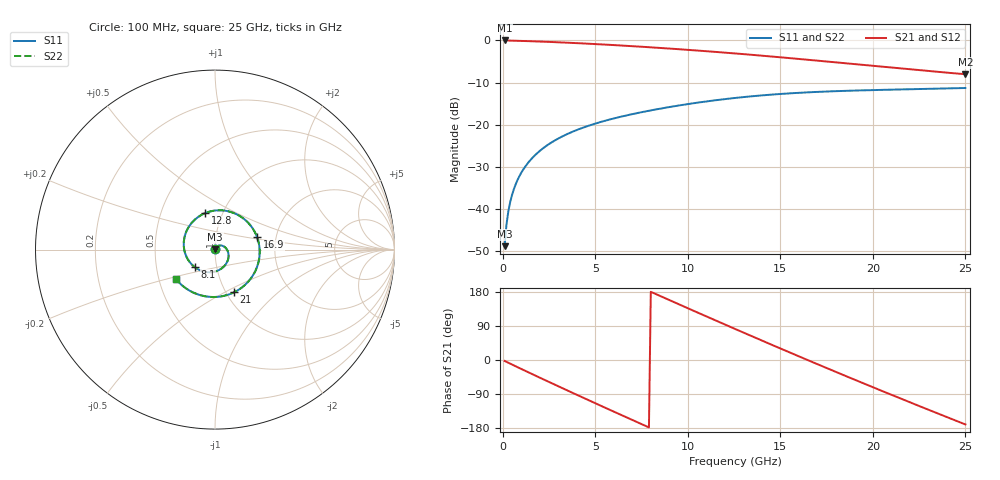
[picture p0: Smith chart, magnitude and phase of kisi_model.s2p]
! kisi D_s8_stitch_2p0: fast channel model (formula impedances, via model), up to 25 GHz
# Hz S RI R 50
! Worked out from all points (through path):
!   250 points, 100 MHz to 25 GHz, reference 50 ohm
!   highest |S21| = -0.02 dB at 100 MHz (marker M1); lowest = -8.0 dB at 25 GHz (marker M2)
!   group delay of S21, straight-line fit = 58.8 ps
!   lowest |S11| = -48.8 dB at 100 MHz (marker M3), VSWR 1.01, Z = 50.2 + j0.323 ohm
!   |S11| at or under -10 dB: start of sweep to end of sweep
!   |S22| runs from -48.8 to -11.3 dB; largest |S21 - S12| = 0
!   S11 on the Smith chart (normalised r, x): 100 MHz: 1.00, +0.01; 8.1 GHz: 0.78, -0.16; 12.8 GHz: 0.83, +0.35; 16.9 GHz: 1.59, +0.23; 21 GHz: 1.09, -0.56; 25 GHz: 0.61, -0.22
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1e8  0.00169 0.00322  0.9968 -0.0428  0.9968 -0.0428  0.00169 0.00322
2e8  0.00258 0.00603  0.9929 -0.0845  0.9929 -0.0845  0.00258 0.00603
4e8  0.00507 0.011  0.98 -0.166  0.98 -0.166  0.00507 0.011
1.1e9  0.0196 0.0218  0.8847 -0.4304  0.8847 -0.4304  0.0196 0.0218
2.7e9  0.0627 0.00583  0.4408 -0.8476  0.4408 -0.8476  0.0627 0.00583
4.3e9  0.0724 -0.0563  -0.1363 -0.9108  -0.1363 -0.9108  0.0724 -0.0563
5.2e9  0.0497 -0.0941  -0.4299 -0.7902  -0.4299 -0.7902  0.0497 -0.0941
6.3e9  -0.00378 -0.1232  -0.6952 -0.5265  -0.6952 -0.5265  -0.00378 -0.1232
8.1e9  -0.1135 -0.0972  -0.824 0.0327  -0.824 0.0327  -0.1135 -0.0972
8.4e9  -0.1292 -0.0831  -0.8069 0.1249  -0.8069 0.1249  -0.1292 -0.0831
1.06e10  -0.1694 0.0711  -0.419 0.6288  -0.419 0.6288  -0.1694 0.0711
1.16e10  -0.1343 0.1434  -0.1545 0.7108  -0.1545 0.7108  -0.1343 0.1434
1.26e10  -0.0704 0.1961  0.1096 0.6903  0.1096 0.6903  -0.0704 0.1961
1.28e10  -0.055 0.2032  0.1591 0.6747  0.1591 0.6747  -0.055 0.2032
1.48e10  0.1128 0.2004  0.5235 0.3615  0.5235 0.3615  0.1128 0.2004
1.67e10  0.2283 0.0846  0.5813 -0.0488  0.5813 -0.0488  0.2283 0.0846
1.69e10  0.2349 0.0682  0.5709 -0.0895  0.5709 -0.0895  0.2349 0.0682
1.9e10  0.2275 -0.1134  0.3241 -0.4104  0.3241 -0.4104  0.2275 -0.1134
2.09e10  0.1137 -0.2341  0.002 -0.4777  0.002 -0.4777  0.1137 -0.2341
2.1e10  0.1058 -0.2381  -0.0145 -0.4752  -0.0145 -0.4752  0.1058 -0.2381
2.31e10  -0.0769 -0.2552  -0.2949 -0.3149  -0.2949 -0.3149  -0.0769 -0.2552
2.5e10  -0.2175 -0.1643  -0.3911 -0.0686  -0.3911 -0.0686  -0.2175 -0.1643
